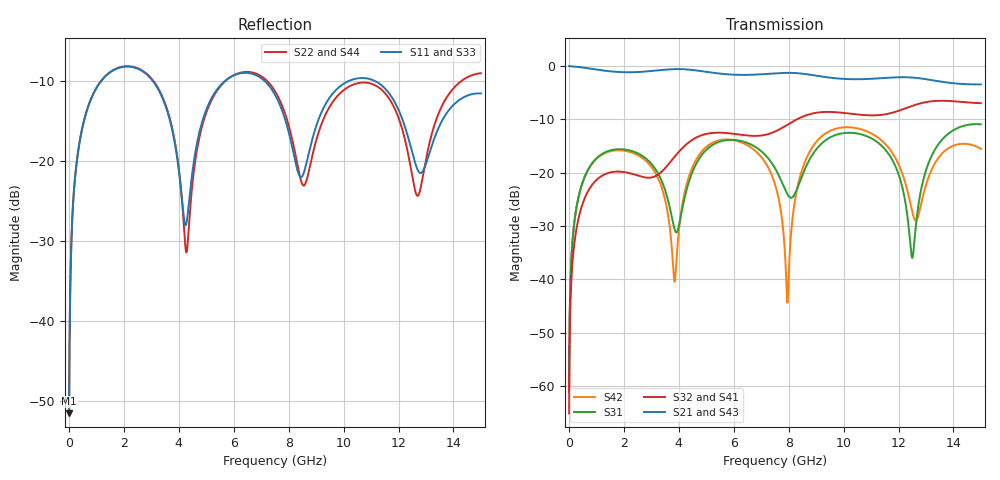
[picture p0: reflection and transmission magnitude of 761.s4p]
! Created with skrf 1.8.0 (http://scikit-rf.org).
# GHz S RI R 50.0
!freq ReS11 ImS11 ReS12 ImS12 ReS13 ImS13
! ReS14 ImS14
! ReS21 ImS21 ReS22 ImS22 ReS23 ImS23
! ReS24 ImS24
! ReS31 ImS31 ReS32 ImS32 ReS33 ImS33
! ReS34 ImS34
! ReS41 ImS41 ReS42 ImS42 ReS43 ImS43
! ReS44 ImS44
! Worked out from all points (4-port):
!   2499 points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, 5 MHz to 15 GHz, reference 50 ohm
!   strongest paths, dB at 5 MHz, 3.476 GHz, 7.19 GHz, 11.1 GHz, 15 GHz:
!     S21: 0.0, -0.7, -1.5, -2.4, -3.4
!     S43: 0.0, -0.7, -1.5, -2.4, -3.4
!     S32: -65.1, -19.3, -12.8, -9.2, -7.0
!     S41: -65.1, -19.3, -12.9, -9.2, -6.9
!     S31: -61.0, -22.9, -16.9, -13.8, -10.9
!     S42: -61.0, -24.5, -18.4, -12.9, -15.5
!   lowest |S11| = -51.6 dB at 5 MHz (marker M1), VSWR 1.01, Z = 50.2 + j0.159 ohm
!   |S11| at or under -10 dB: 3.048 GHz to 5.688 GHz (2.64 GHz wide, 60.5 % of centre); 7.117 GHz to 10.21 GHz (3.091 GHz wide, 35.7 % of centre); 11.12 GHz to end of sweep (the widest 3 of 4)
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0.005  0.0021 0.00159  0.9979 -0.00408  0.000109 0.000882  -0.000105 -0.000546
       0.9979 -0.00408  0.0021 0.00159  -0.000105 -0.000546  0.000109 0.000882
       0.000109 0.000882  -0.000105 -0.000546  0.0021 0.00159  0.9979 -0.00408
       -0.000105 -0.000546  0.000109 0.000882  0.9979 -0.00408  0.0021 0.00159
1.269279  0.2825 0.1698  0.517 -0.7453  0.1427 0.0562  -0.0958 -0.000546
          0.517 -0.7453  0.2847 0.1683  -0.0958 -0.000571  0.1365 0.0652
          0.1427 0.0562  -0.0958 -0.000571  0.2826 0.1699  0.5169 -0.7453
          -0.0958 -0.000546  0.1365 0.0652  0.5169 -0.7453  0.2848 0.1683
4.195498  0.0393 -0.0166  -0.9263 -0.1172  -0.0189 0.0528  -0.0184 0.176
          -0.9263 -0.1172  0.0265 -0.025  -0.0189 0.176  0.0155 0.0607
          -0.0189 0.0528  -0.0189 0.176  0.0384 -0.0181  -0.9262 -0.1173
          -0.0184 0.176  0.0155 0.0607  -0.9262 -0.1173  0.0278 -0.0264
8.522301  0.0807 0.0118  0.8329 0.1554  -0.0324 0.0928  0.0518 -0.3329
          0.8329 0.1554  0.0689 -0.0133  0.0527 -0.3326  0.0242 0.1106
          -0.0324 0.0928  0.0527 -0.3326  0.0825 0.0103  0.8331 0.1534
          0.0518 -0.3329  0.0242 0.1106  0.8331 0.1534  0.0677 -0.0158
11.38599  0.2733 -0.1136  -0.1426 -0.7569  0.133 -0.1198  -0.3241 0.1311
          -0.1426 -0.7569  0.2572 -0.105  -0.3244 0.1287  0.1276 -0.1546
          0.133 -0.1198  -0.3244 0.1287  0.2719 -0.1174  -0.1484 -0.7558
          -0.3241 0.1311  0.1276 -0.1546  -0.1484 -0.7558  0.2559 -0.1051
12.49896  0.093 -0.0642  -0.6677 -0.4045  0.0156 -0.00297  -0.2027 0.3718
          -0.6677 -0.4045  0.0688 -0.0416  -0.2057 0.3701  -0.0367 -0.0233
          0.0156 -0.00297  -0.2057 0.3701  0.0901 -0.066  -0.6716 -0.3975
          -0.2027 0.3718  -0.0367 -0.0233  -0.6716 -0.3975  0.0704 -0.0408
15  0.263 0.016  -0.2523 0.6242  0.2141 -0.1873  0.4409 0.0882
    -0.2523 0.6242  0.3522 0.0121  0.4394 0.0918  0.1554 -0.0626
    0.2141 -0.1873  0.4394 0.0918  0.262 0.00932  -0.2409 0.6289
    0.4409 0.0882  0.1554 -0.0626  -0.2409 0.6289  0.3498 0.00647
